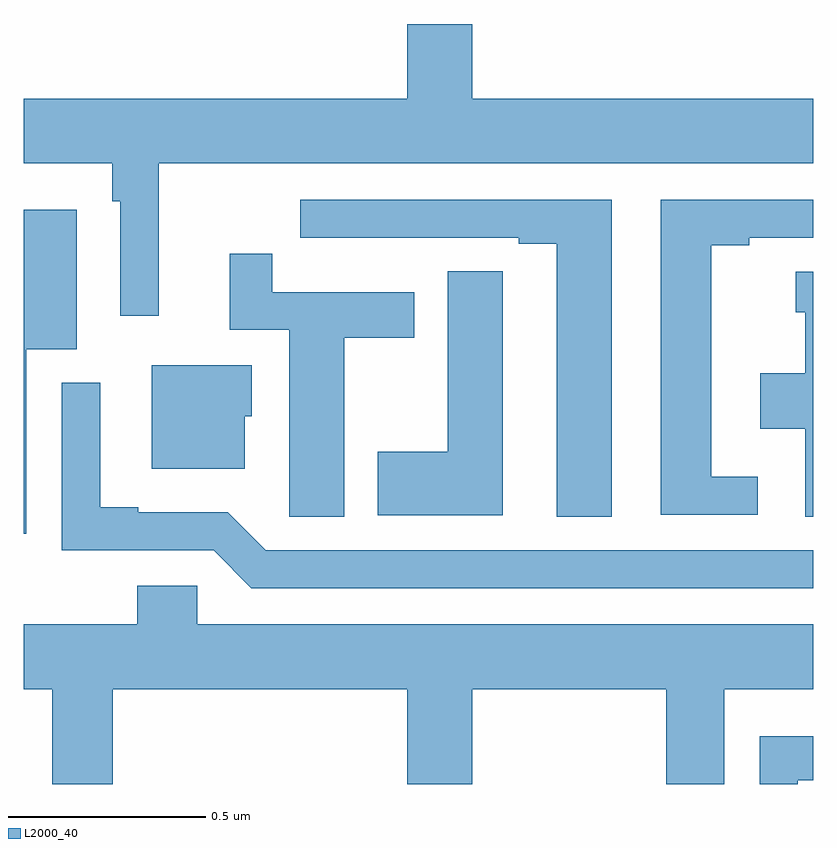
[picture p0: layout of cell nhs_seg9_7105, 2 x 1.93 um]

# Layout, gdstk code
import gdstk
lib = gdstk.Library(unit=1e-6, precision=1e-09)
def P(c, l, *ps):  # polygons
    for p in ps: c.add(gdstk.Polygon(p, *l))
L2000_40 = (2000, 40)

nhs_seg9_7105 = lib.new_cell('nhs_seg9_7105')
P(nhs_seg9_7105, L2000_40, [(200.342,1211.072),(202,1211.072),(202,1211.236),(201.136,1211.236),(201.136,1211.425),(200.972,1211.425),(200.972,1211.236),(200,1211.236),(200,1211.072),(200.224,1211.072),(200.224,1210.976),(200.244,1210.976),(200.244,1210.686),(200.342,1210.686)],
  [(201.859,1210.278),(201.742,1210.278),(201.742,1210.864),(201.838,1210.864),(201.838,1210.884),(202,1210.884),(202,1210.98),(201.614,1210.98),(201.614,1210.182),(201.859,1210.182)],
  [(201.49,1210.98),(200.7,1210.98),(200.7,1210.884),(200.812,1210.884),(200.812,1210.883),(200.978,1210.883),(200.978,1210.884),(201.254,1210.884),(201.254,1210.869),(201.35,1210.869),(201.35,1210.177),(201.49,1210.177)],
  [(200.007,1210.601),(200.134,1210.601),(200.134,1210.954),(200,1210.954),(200,1210.134),(200.007,1210.134)],
  [(200.812,1210.63),(200.989,1210.63),(200.989,1210.746),(200.63,1210.746),(200.63,1210.843),(200.522,1210.843),(200.522,1210.65),(200.672,1210.65),(200.672,1210.288),(200.673,1210.288),(200.673,1210.177),(200.812,1210.177)],
  [(201.214,1210.691),(201.213,1210.691),(201.213,1210.799),(201.074,1210.799),(201.074,1210.341),(200.897,1210.341),(200.897,1210.181),(201.214,1210.181)],
  [(202,1210.798),(201.956,1210.798),(201.956,1210.695),(201.98,1210.695),(201.98,1210.54),(201.866,1210.54),(201.866,1210.4),(201.98,1210.4),(201.98,1210.177),(202,1210.177)],
  [(200.56,1210.431),(200.578,1210.431),(200.578,1210.561),(200.324,1210.561),(200.324,1210.298),(200.56,1210.298)],
  [(202,1210.092),(200.613,1210.092),(200.517,1210.188),(200.29,1210.188),(200.29,1210.201),(200.194,1210.201),(200.194,1210.516),(200.097,1210.516),(200.097,1210.092),(200.481,1210.092),(200.577,1209.996),(202,1209.996)],
  [(200.225,1209.74),(200.972,1209.74),(200.972,1209.5),(201.136,1209.5),(201.136,1209.74),(201.628,1209.74),(201.628,1209.5),(201.775,1209.5),(201.775,1209.74),(202,1209.74),(202,1209.904),(200.439,1209.904),(200.439,1210.002),(200.288,1210.002),(200.288,1209.904),(200,1209.904),(200,1209.74),(200.072,1209.74),(200.072,1209.5),(200.225,1209.5)],
  [(201.961,1209.51),(202,1209.51),(202,1209.621),(201.864,1209.621),(201.864,1209.5),(201.961,1209.5)])

lib.write_gds('nhs_seg9_7105.gds')
